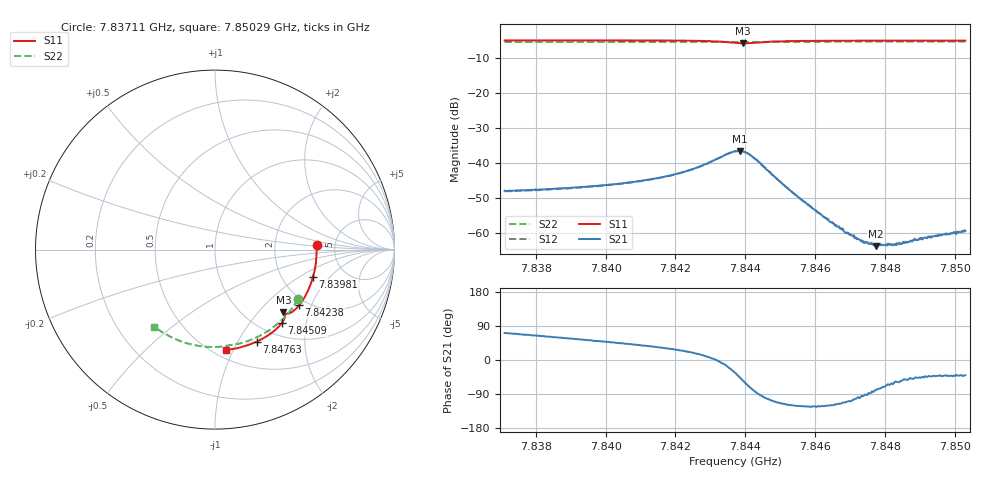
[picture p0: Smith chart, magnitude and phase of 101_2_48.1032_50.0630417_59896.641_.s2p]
#  HZ  S  RI  R  50.00
! Rohde & Schwarz Vector Network Analyzer
! Rohde-Schwarz,ZNB20-2Port,1311601062101988,3.16
! Created: UTC 12/23/2023, 3:44:45 AM
! freq[Hz]  re:S11  im:S11  re:S21  im:S21  re:S12  im:S12  re:S22  im:S22
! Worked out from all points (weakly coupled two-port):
!   401 points, 7.83711 GHz to 7.85029 GHz, reference 50 ohm
!   highest |S21| = -36.58 dB at 7.84383 GHz (marker M1); lowest = -63.9 dB at 7.84772 GHz (marker M2)
!   lowest |S11| = -5.7 dB at 7.84393 GHz (marker M3), VSWR 3.13, Z = 72.8 - j69 ohm
!   |S11| at or under -10 dB: nowhere
!   |S22| runs from -5.4 to -5.2 dB; largest |S21 - S12| = 0.00027
!   S11 on the Smith chart (normalised r, x): 7.83711 GHz: 3.59, +0.30; 7.83981 GHz: 2.97, -1.32; 7.84238 GHz: 1.80, -1.64; 7.84509 GHz: 1.24, -1.46; 7.84763 GHz: 0.80, -1.20; 7.85029 GHz: 0.57, -0.94
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7.837111e9  0.5657 0.0281  0.00128 0.00378  0.00127 0.00369  0.4633 -0.277
7.839319e9  0.5546 -0.1183  0.00264 0.00364  0.00263 0.0036  0.3665 -0.3971
7.839814e9  0.5466 -0.1505  0.00304 0.00361  0.00301 0.00359  0.3403 -0.4199
7.840671e9  0.528 -0.2055  0.00389 0.00351  0.00381 0.00351  0.2919 -0.4554
7.841528e9  0.5029 -0.2592  0.00511 0.00335  0.00505 0.00336  0.2396 -0.4854
7.842384e9  0.4686 -0.3107  0.00731 0.00281  0.00726 0.00284  0.1842 -0.5092
7.843208e9  0.42 -0.3526  0.0114 -0.000482  0.0115 -0.000249  0.1285 -0.5251
7.843703e9  0.3854 -0.3545  0.0122 -0.00813  0.0123 -0.00808  0.0955 -0.5307
7.843835e9  0.3813 -0.3504  0.0104 -0.0106  0.0104 -0.0105  0.0871 -0.5319
7.843934e9  0.3811 -0.3479  0.00834 -0.0119  0.00846 -0.0118  0.0808 -0.5329
7.844098e9  0.3846 -0.3476  0.00464 -0.0125  0.00473 -0.0125  0.0704 -0.5349
7.844263e9  0.389 -0.3534  0.00158 -0.0115  0.00163 -0.0115  0.0595 -0.5369
7.845087e9  0.3737 -0.4075  -0.00209 -0.00439  -0.0021 -0.00441  0.00213 -0.5426
7.845911e9  0.3327 -0.4503  -0.00121 -0.0019  -0.00121 -0.00188  -0.0559 -0.5408
7.8469e9  0.2766 -0.4896  -0.000337 -0.000927  -0.000381 -0.000927  -0.1247 -0.5298
7.847361e9  0.2491 -0.5046  -7.29e-05 -0.000746  -8.57e-05 -0.000756  -0.1561 -0.5218
7.847625e9  0.233 -0.5124  8.74e-05 -0.000674  6.63e-05 -0.000707  -0.1737 -0.5162
7.847724e9  0.227 -0.5151  0.000114 -0.00063  0.000112 -0.000672  -0.1805 -0.5143
7.84812e9  0.2025 -0.5253  0.000281 -0.000629  0.000283 -0.000613  -0.2064 -0.5044
7.848416e9  0.1837 -0.5321  0.000363 -0.000576  0.000395 -0.000599  -0.2255 -0.4964
7.849174e9  0.1353 -0.5464  0.000598 -0.000583  0.000586 -0.000606  -0.273 -0.4726
7.850295e9  0.0618 -0.5592  0.000809 -0.000686  0.000822 -0.000677  -0.3383 -0.4288
